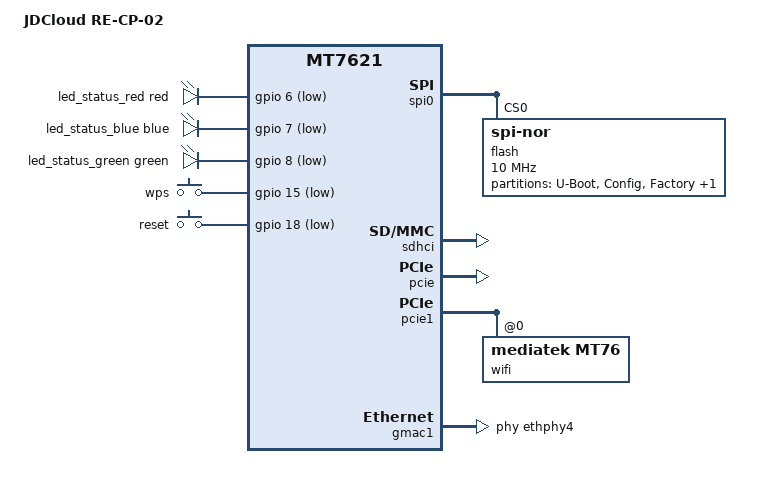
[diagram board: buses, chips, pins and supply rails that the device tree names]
// SPDX-License-Identifier: GPL-2.0-or-later

#include "mt7621.dtsi"

#include <dt-bindings/gpio/gpio.h>
#include <dt-bindings/input/input.h>
#include <dt-bindings/leds/common.h>

/ {
	compatible = "jdcloud,re-cp-02", "mediatek,mt7621-soc";
	model = "JDCloud RE-CP-02";

	aliases {
		label-mac-device = &gmac0;
		led-boot = &led_status_blue;
		led-failsafe = &led_status_red;
		led-running = &led_status_green;
		led-upgrade = &led_status_blue;
	};

	chosen {
		bootargs = "console=ttyS0,115200n8";
	};

	leds {
		compatible = "gpio-leds";

		led_status_red: led-0 {
			color = <LED_COLOR_ID_RED>;
			function = LED_FUNCTION_STATUS;
			gpios = <&gpio 6 GPIO_ACTIVE_LOW>;
		};

		led_status_blue: led-1 {
			color = <LED_COLOR_ID_BLUE>;
			function = LED_FUNCTION_STATUS;
			gpios = <&gpio 7 GPIO_ACTIVE_LOW>;
		};

		led_status_green: led-2 {
			color = <LED_COLOR_ID_GREEN>;
			function = LED_FUNCTION_STATUS;
			gpios = <&gpio 8 GPIO_ACTIVE_LOW>;
		};
	};

	keys {
		compatible = "gpio-keys";

		wps {
			label = "wps";
			gpios = <&gpio 15 GPIO_ACTIVE_LOW>;
			linux,code = <KEY_WPS_BUTTON>;
		};

		reset {
			label = "reset";
			gpios = <&gpio 18 GPIO_ACTIVE_LOW>;
			linux,code = <KEY_RESTART>;
		};
	};
};

&spi0 {
	status = "okay";

	flash@0 {
		compatible = "jedec,spi-nor";
		reg = <0>;
		spi-max-frequency = <10000000>;

		partitions {
			compatible = "fixed-partitions";
			#address-cells = <1>;
			#size-cells = <1>;

			partition@0 {
				label = "U-Boot";
				reg = <0x0 0x40000>;
				read-only;
			};

			partition@40000 {
				compatible = "u-boot,env";
				label = "Config";
				reg = <0x40000 0x10000>;
			};

			partition@50000 {
				label = "Factory";
				reg = <0x50000 0x40000>;
				read-only;

				nvmem-layout {
					compatible = "fixed-layout";
					#address-cells = <1>;
					#size-cells = <1>;

					eeprom_factory_0: eeprom@0 {
						reg = <0x0 0xe00>;
					};

					macaddr_factory_3fff4: macaddr@3fff4 {
						reg = <0x3fff4 0x6>;
					};

					macaddr_factory_3fffa: macaddr@3fffa {
						reg = <0x3fffa 0x6>;
					};
				};
			};

			partition@90000 {
				compatible = "denx,uimage";
				label = "firmware";
				reg = <0x90000 0xf70000>;
			};
		};
	};
};

&state_default {
	gpio {
		groups = "uart3", "jtag", "wdt";
		function = "gpio";
	};
};

&sdhci {
	status = "okay";
};

&pcie {
	status = "okay";
};

&pcie1 {
	wifi@0,0 {
		compatible = "mediatek,mt76";
		reg = <0x0000 0 0 0 0>;
		nvmem-cells = <&eeprom_factory_0>;
		nvmem-cell-names = "eeprom";
		mediatek,disable-radar-background;
	};
};

&gmac0 {
	nvmem-cells = <&macaddr_factory_3fff4>;
	nvmem-cell-names = "mac-address";
};

&gmac1 {
	status = "okay";
	label = "wan";
	phy-handle = <&ethphy4>;

	nvmem-cells = <&macaddr_factory_3fffa>;
	nvmem-cell-names = "mac-address";
};

&ethphy4 {
	/delete-property/ interrupts;
};

&switch0 {
	ports {
		port@1 {
			status = "okay";
			label = "lan1";
		};

		port@2 {
			status = "okay";
			label = "lan2";
		};

		port@3 {
			status = "okay";
			label = "lan3";
		};
	};
};

&xhci {
	status = "disabled";
};
